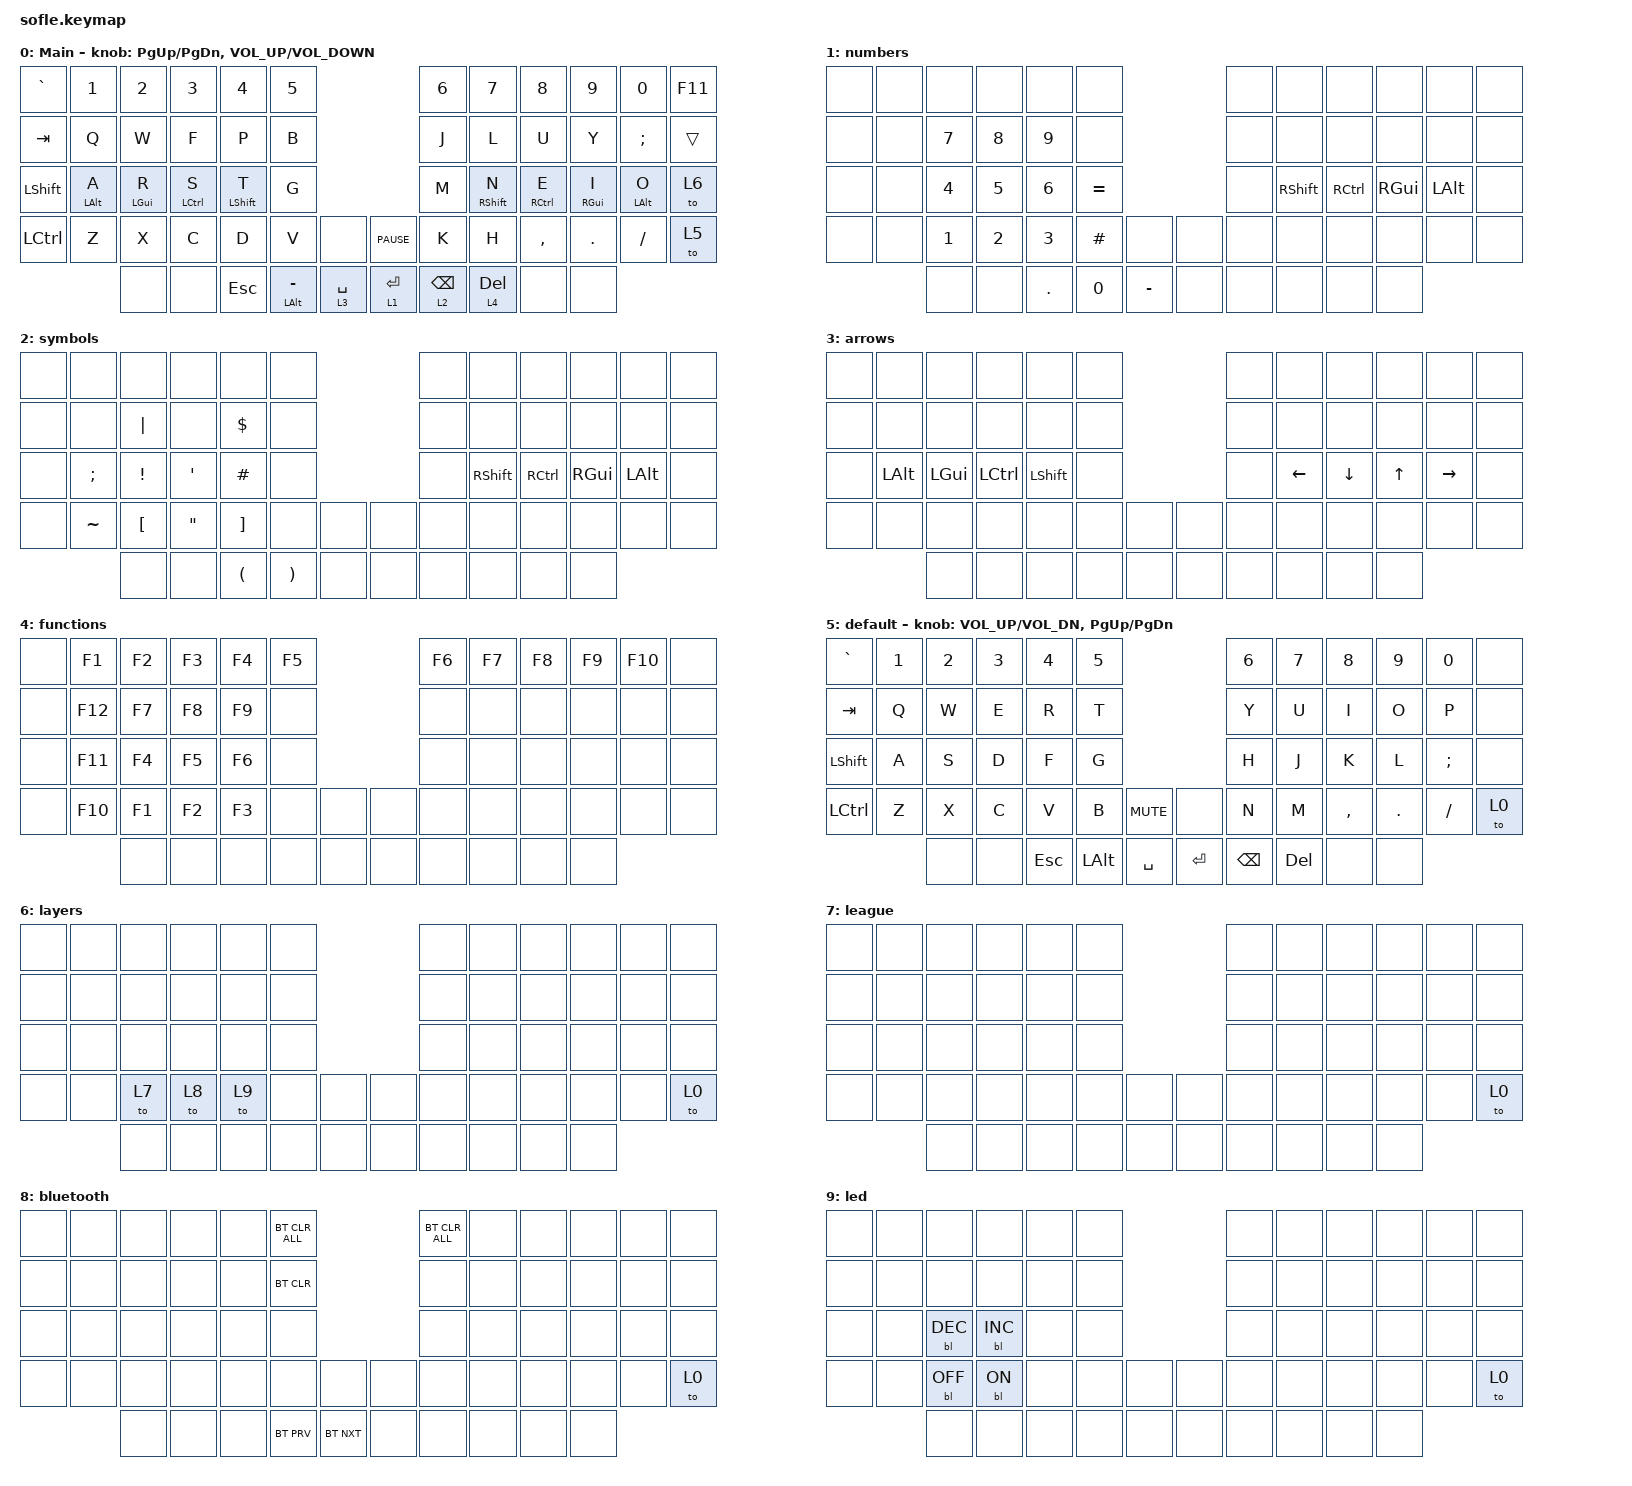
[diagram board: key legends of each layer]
/*
 * Copyright (c) 2020 The ZMK Contributors
 *
 * SPDX-License-Identifier: MIT
 */

#include <behaviors.dtsi>
#include <dt-bindings/zmk/backlight.h>
#include <dt-bindings/zmk/bt.h>
#include <dt-bindings/zmk/keys.h>

#define BASE 0
#define LOWER 1
#define RAISE 2
#define ADJUST 3

/ {
    // Activate ADJUST layer by pressing raise and lower

    conditional_layers { compatible = "zmk,conditional-layers"; };

    keymap {
        compatible = "zmk,keymap";

        Main {
            bindings = <
&kp GRAVE  &kp N1          &kp N2          &kp N3              &kp N4            &kp N5                                           &kp N6           &kp N7             &kp N8               &kp N9           &kp N0          &kp F11
&kp TAB    &kp Q           &kp W           &kp F               &kp P             &kp B                                            &kp J            &kp L              &kp U                &kp Y            &kp SEMI        &trans
&kp LSHFT  &mt LEFT_ALT A  &mt LEFT_GUI R  &mt LEFT_CONTROL S  &mt LEFT_SHIFT T  &kp G                                            &kp M            &mt RIGHT_SHIFT N  &mt RIGHT_CONTROL E  &mt RIGHT_GUI I  &mt LEFT_ALT O  &to 6
&kp LCTRL  &kp Z           &kp X           &kp C               &kp D             &kp V               &none          &kp C_PAUSE   &kp K            &kp H              &kp COMMA            &kp DOT          &kp FSLH        &to 5
                           &none           &none               &kp ESCAPE        &mt LEFT_ALT MINUS  &lt 3 SPACE    &lt 1 RETURN  &lt 2 BACKSPACE  &lt 4 DELETE       &none                &none
            >;

            sensor-bindings =
                <&inc_dec_kp PAGE_UP PAGE_DOWN>,
                <&inc_dec_kp C_VOLUME_UP C_VOLUME_DOWN>;
        };

        numbers {
            bindings = <
&none  &none  &none   &none   &none       &none                          &none  &none            &none              &none          &none         &none
&none  &none  &kp N7  &kp N8  &kp N9      &none                          &none  &none            &none              &none          &none         &none
&none  &none  &kp N4  &kp N5  &kp N6      &kp EQUAL                      &none  &kp RIGHT_SHIFT  &kp RIGHT_CONTROL  &kp RIGHT_GUI  &kp LEFT_ALT  &none
&none  &none  &kp N1  &kp N2  &kp N3      &kp POUND  &none        &none  &none  &none            &none              &none          &none         &none
              &none   &none   &kp PERIOD  &kp N0     &kp MINUS    &none  &none  &none            &none              &none
            >;
        };

        symbols {
            bindings = <
&none  &none          &none             &none              &none                 &none                                  &none  &none            &none              &none          &none         &none
&none  &none          &kp PIPE          &none              &kp DOLLAR            &none                                  &none  &none            &none              &none          &none         &none
&none  &kp SEMICOLON  &kp EXCL          &kp SINGLE_QUOTE   &kp POUND             &none                                  &none  &kp RIGHT_SHIFT  &kp RIGHT_CONTROL  &kp RIGHT_GUI  &kp LEFT_ALT  &none
&none  &kp TILDE      &kp LEFT_BRACKET  &kp DOUBLE_QUOTES  &kp RIGHT_BRACKET     &none                  &none    &none  &none  &none            &none              &none          &none         &none
                      &none             &none              &kp LEFT_PARENTHESIS  &kp RIGHT_PARENTHESIS  &none    &none  &none  &none            &none              &none
            >;
        };

        arrows {
            bindings = <
&none  &none         &none         &none             &none           &none                  &none  &none           &none           &none         &none            &none
&none  &none         &none         &none             &none           &none                  &none  &none           &none           &none         &none            &none
&none  &kp LEFT_ALT  &kp LEFT_GUI  &kp LEFT_CONTROL  &kp LEFT_SHIFT  &none                  &none  &kp LEFT_ARROW  &kp DOWN_ARROW  &kp UP_ARROW  &kp RIGHT_ARROW  &none
&none  &none         &none         &none             &none           &none  &none    &none  &none  &none           &none           &none         &none            &none
                     &none         &none             &none           &none  &none    &none  &none  &none           &none           &none
            >;
        };

        functions {
            bindings = <
&none  &kp F1   &kp F2  &kp F3  &kp F4  &kp F5                  &kp F6  &kp F7  &kp F8  &kp F9  &kp F10  &none
&none  &kp F12  &kp F7  &kp F8  &kp F9  &none                   &none   &none   &none   &none   &none    &none
&none  &kp F11  &kp F4  &kp F5  &kp F6  &none                   &none   &none   &none   &none   &none    &none
&none  &kp F10  &kp F1  &kp F2  &kp F3  &none   &none    &none  &none   &none   &none   &none   &none    &none
                &none   &none   &none   &none   &none    &none  &none   &none   &none   &none
            >;
        };

        qwerty {
            display-name = "default";

            // ------------------------------------------------------------------------------------------------------------
            // |   `   |  1  |  2  |  3   |  4   |  5   |                   |  6   |  7    |  8    |  9   |   0   |       |
            // |  ESC  |  Q  |  W  |  E   |  R   |  T   |                   |  Y   |  U    |  I    |  O   |   P   | BKSPC |
            // |  TAB  |  A  |  S  |  D   |  F   |  G   |                   |  H   |  J    |  K    |  L   |   ;   |   '   |
            // | SHIFT |  Z  |  X  |  C   |  V   |  B   |  MUTE  |  |       |  N   |  M    |  ,    |  .   |   /   | SHIFT |
            //               | GUI | ALT  | CTRL | LOWER|  ENTER |  | SPACE | RAISE| CTRL  | ALT   | GUI  |

            bindings = <
&kp GRAVE         &kp N1  &kp N2  &kp N3  &kp N4      &kp N5                               &kp N6         &kp N7      &kp N8     &kp N9   &kp N0    &none
&kp TAB           &kp Q   &kp W   &kp E   &kp R       &kp T                                &kp Y          &kp U       &kp I      &kp O    &kp P     &none
&kp LEFT_SHIFT    &kp A   &kp S   &kp D   &kp F       &kp G                                &kp H          &kp J       &kp K      &kp L    &kp SEMI  &none
&kp LEFT_CONTROL  &kp Z   &kp X   &kp C   &kp V       &kp B         &kp C_MUTE    &none    &kp N          &kp M       &kp COMMA  &kp DOT  &kp FSLH  &to 0
                          &none   &none   &kp ESCAPE  &kp LEFT_ALT  &kp SPACE     &kp RET  &kp BACKSPACE  &kp DELETE  &none      &none
            >;

            sensor-bindings = <&inc_dec_kp C_VOL_UP C_VOL_DN &inc_dec_kp PG_UP PG_DN>;
        };

        layers {
            bindings = <
&none  &none  &none  &none  &none  &none                  &none  &none  &none  &none  &none  &none
&none  &none  &none  &none  &none  &none                  &none  &none  &none  &none  &none  &none
&none  &none  &none  &none  &none  &none                  &none  &none  &none  &none  &none  &none
&none  &none  &to 7  &to 8  &to 9  &none  &none    &none  &none  &none  &none  &none  &none  &to 0
              &none  &none  &none  &none  &none    &none  &none  &none  &none  &none
            >;
        };

        league {
            bindings = <
&none  &none  &none  &none  &none  &none                  &none  &none  &none  &none  &none  &none
&none  &none  &none  &none  &none  &none                  &none  &none  &none  &none  &none  &none
&none  &none  &none  &none  &none  &none                  &none  &none  &none  &none  &none  &none
&none  &none  &none  &none  &none  &none  &none    &none  &none  &none  &none  &none  &none  &to 0
              &none  &none  &none  &none  &none    &none  &none  &none  &none  &none
            >;
        };

        bluetooth {
            bindings = <
&none  &none  &none  &none  &none  &bt BT_CLR_ALL                       &bt BT_CLR_ALL  &none  &none  &none  &none  &none
&none  &none  &none  &none  &none  &bt BT_CLR                           &none           &none  &none  &none  &none  &none
&none  &none  &none  &none  &none  &none                                &none           &none  &none  &none  &none  &none
&none  &none  &none  &none  &none  &none           &none         &none  &none           &none  &none  &none  &none  &to 0
              &none  &none  &none  &bt BT_PRV      &bt BT_NXT    &none  &none           &none  &none  &none
            >;
        };

        led {
            bindings = <
&none  &none  &none       &none       &none  &none                  &none  &none  &none  &none  &none  &none
&none  &none  &none       &none       &none  &none                  &none  &none  &none  &none  &none  &none
&none  &none  &bl BL_DEC  &bl BL_INC  &none  &none                  &none  &none  &none  &none  &none  &none
&none  &none  &bl BL_OFF  &bl BL_ON   &none  &none  &none    &none  &none  &none  &none  &none  &none  &to 0
              &none       &none       &none  &none  &none    &none  &none  &none  &none  &none
            >;
        };
    };
};
